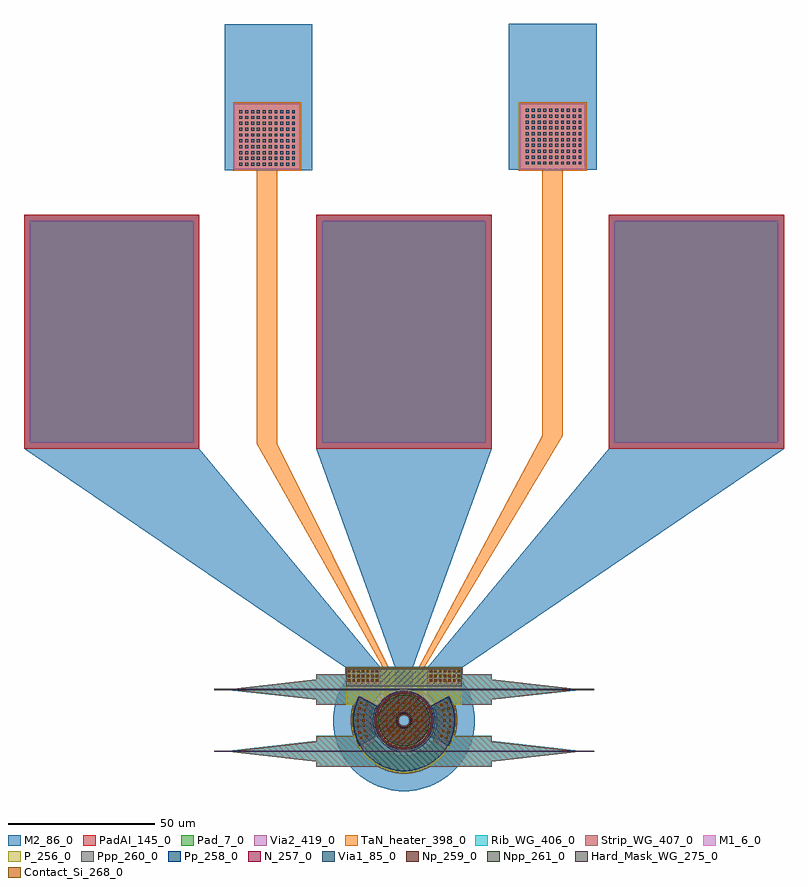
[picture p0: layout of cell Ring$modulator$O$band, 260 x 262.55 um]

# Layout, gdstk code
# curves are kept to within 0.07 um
import gdstk
lib = gdstk.Library(unit=1e-6, precision=1e-09)
def R(c, l, rs):  # rectangles x0, y0, x1, y1
    for r in rs: c.add(gdstk.rectangle(r[:2], r[2:], *l))
def A(c, l, x, y, w, h, nx, ny, dx, dy):  # array of equal rectangles
    R(c, l, [(x+i*dx, y+j*dy, x+i*dx+w, y+j*dy+h) for i in range(nx) for j in range(ny)])
def P(c, l, *ps):  # polygons
    for p in ps: c.add(gdstk.Polygon(p, *l))
M1_6_0 = (6, 0)
Pad_7_0 = (7, 0)
Via1_85_0 = (85, 0)
M2_86_0 = (86, 0)
PadAI_145_0 = (145, 0)
P_256_0 = (256, 0)
N_257_0 = (257, 0)
Pp_258_0 = (258, 0)
Np_259_0 = (259, 0)
Ppp_260_0 = (260, 0)
Npp_261_0 = (261, 0)
Contact_Si_268_0 = (268, 0)
Hard_Mask_WG_275_0 = (275, 0)
TaN_heater_398_0 = (398, 0)
Rib_WG_406_0 = (406, 0)
Strip_WG_407_0 = (407, 0)
Via2_419_0 = (419, 0)

ring_modulator_o_band = lib.new_cell('Ring$modulator$O$band')
R(ring_modulator_o_band, M1_6_0, [(110.3,43.55,121.7,48.455), (110.3,43.55,121.7,48.455), (138.3,43.55,149.7,48.455), (138.3,43.55,149.7,48.455), (72.005,219.411,94.321,241.726), (169.706,219.411,192.022,241.726)])
P(ring_modulator_o_band, M1_6_0, [(115.612,20.701),(114.513,22.487),(113.452,24.883),(112.76,27.41),(112.452,30.011),(112.485,32.106),(112.878,34.696),(113.651,37.198),(114.789,39.557),(119.396,36.897),(118.636,35.336),(118.105,33.683),(117.813,31.973),(117.766,30.238),(117.965,28.515),(118.405,26.837),(119.078,25.239),(119.97,23.752)],
  [(144.388,20.7),(140.03,23.751),(140.924,25.239),(141.596,26.839),(142.036,28.517),(142.235,30.24),(142.187,31.975),(141.895,33.685),(141.365,35.337),(140.605,36.897),(145.212,39.557),(146.152,37.68),(146.999,35.202),(147.468,32.625),(147.549,30.008),(147.333,27.923),(146.716,25.377),(145.727,22.951)],
  [(130.088,23.019),(128.691,23.13),(127.337,23.49),(125.773,24.272),(124.672,25.138),(123.745,26.188),(123.023,27.388),(122.527,28.698),(122.252,30.425),(122.245,30.775),(127.265,30.775),(127.454,29.773),(127.995,28.913),(128.814,28.309),(129.594,28.069),(130.205,28.047),(131,28.228),(132.006,28.914),(132.465,29.588),(132.668,30.167),(132.728,30.982),(132.614,31.584),(132.369,32.145),(131.86,32.781),(131.186,33.241),(130.607,33.443),(129.391,33.442),(128.294,32.914),(127.535,31.962),(127.265,30.775),(122.245,30.775),(122.371,32.172),(122.746,33.521),(123.546,35.077),(124.425,36.167),(125.485,37.081),(126.692,37.79),(128.007,38.271),(129.738,38.527),(131.482,38.388),(132.826,37.998),(134.373,37.181),(135.453,36.29),(136.356,35.22),(137.19,33.683),(137.596,32.342),(137.754,30.951),(137.596,29.209),(137.191,27.868),(136.551,26.622),(135.697,25.512),(134.657,24.573),(133.149,23.687),(131.823,23.236)])
A(ring_modulator_o_band, Pad_7_0, 2, 125.755, 56, 76, 3, 1, 100, 0)
A(ring_modulator_o_band, Via1_85_0, 110.8, 44, 0.8, 0.8, 7, 3, 1.6, 1.6)
A(ring_modulator_o_band, Via1_85_0, 138.8, 44, 0.8, 0.8, 7, 3, 1.6, 1.6)
A(ring_modulator_o_band, Via1_85_0, 73.71, 220.558, 1, 1, 10, 10, 2, 2)
A(ring_modulator_o_band, Via1_85_0, 171.722, 220.989, 1, 1, 10, 10, 2, 2)
R(ring_modulator_o_band, Via1_85_0, [(129.6,24.18,130.4,24.98), (114.998,24.327,115.798,25.127), (144.202,24.327,145.002,25.127), (127.686,24.483,128.486,25.283), (131.514,24.483,132.314,25.283), (116.753,25.054,117.553,25.854), (142.447,25.054,143.247,25.854), (125.959,25.363,126.759,26.163), (133.241,25.363,134.041,26.163), (129.6,25.98,130.4,26.78), (114.334,26.284,115.134,27.084), (144.866,26.284,145.666,27.084), (127.402,26.569,128.202,27.369), (131.798,26.569,132.598,27.369), (124.588,26.734,125.388,27.534), (134.612,26.734,135.412,27.534), (116.169,26.776,116.969,27.576), (143.031,26.776,143.831,27.576), (125.794,28.178,126.594,28.978), (133.406,28.178,134.206,28.978), (113.93,28.312,114.73,29.112), (145.27,28.312,146.07,29.112), (123.708,28.461,124.508,29.261), (135.492,28.461,136.292,29.261), (115.814,28.56,116.614,29.36), (143.386,28.56,144.186,29.36), (113.795,30.375,114.595,31.175), (113.795,30.375,114.595,31.175), (115.695,30.375,116.495,31.175), (115.695,30.375,116.495,31.175), (123.405,30.375,124.205,31.175), (123.405,30.375,124.205,31.175), (125.205,30.375,126.005,31.175), (125.205,30.375,126.005,31.175), (133.995,30.375,134.795,31.175), (133.995,30.375,134.795,31.175), (135.795,30.375,136.595,31.175), (135.795,30.375,136.595,31.175), (143.505,30.375,144.305,31.175), (143.505,30.375,144.305,31.175), (145.405,30.375,146.205,31.175), (145.405,30.375,146.205,31.175), (115.814,32.19,116.614,32.99), (143.386,32.19,144.186,32.99), (123.708,32.289,124.508,33.089), (135.492,32.289,136.292,33.089), (113.93,32.438,114.73,33.238), (145.27,32.438,146.07,33.238), (125.794,32.572,126.594,33.372), (133.406,32.572,134.206,33.372), (116.169,33.974,116.969,34.774), (143.031,33.974,143.831,34.774), (124.588,34.016,125.388,34.816), (134.612,34.016,135.412,34.816), (127.402,34.181,128.202,34.981), (131.798,34.181,132.598,34.981), (114.334,34.466,115.134,35.266), (144.866,34.466,145.666,35.266), (129.6,34.77,130.4,35.57), (125.959,35.387,126.759,36.187), (133.241,35.387,134.041,36.187), (116.753,35.696,117.553,36.496), (142.447,35.696,143.247,36.496), (127.686,36.267,128.486,37.067), (131.514,36.267,132.314,37.067), (114.998,36.423,115.798,37.223), (144.202,36.423,145.002,37.223), (129.6,36.57,130.4,37.37)])
R(ring_modulator_o_band, M2_86_0, [(169.206,218.911,192.522,242.226), (68.639,218.927,98.639,268.927), (165.862,219.118,195.862,269.118)])
P(ring_modulator_o_band, M2_86_0, [(138,62.644),(138,203.755),(160,203.755),(160,123.755)],
  [(138,7.93),(138,21.905),(139.643,23.724),(140.35,24.809),(140.934,25.964),(141.621,28.007),(141.852,29.281),(141.944,30.572),(141.896,31.865),(141.708,33.146),(141.383,34.4),(140.923,35.611),(139.627,37.848),(138,39.645),(138,48.755),(200,123.755),(200,203.755),(260,203.755),(260,123.755),(150,48.755),(150,44.407),(151.451,41.99),(152.71,39.153),(153.595,36.18),(154.024,33.735),(154.201,31.258),(154.123,28.777),(153.792,26.317),(153.21,23.903),(152.384,21.562),(151.021,18.774),(149.681,16.683),(147.717,14.281),(145.934,12.553),(143.473,10.665),(140.79,9.107)],
  [(138,29.853),(138,31.711),(138.023,31.492),(138.047,31.133),(138.055,30.775),(138.047,30.417),(138.023,30.058)],
  [(130,6.57),(127.519,6.696),(125.675,6.959),(123.856,7.362),(122,7.931),(122,21.906),(123.838,20.541),(125.778,19.6),(127.854,19.023),(130,18.83),(132.147,19.024),(134.223,19.6),(136.162,20.541),(138,21.905),(138,7.93),(136.148,7.363),(134.329,6.959),(131.867,6.641)],
  [(122,7.931),(119.213,9.105),(116.53,10.663),(114.541,12.148),(112.285,14.279),(110.32,16.681),(108.98,18.771),(107.617,21.559),(106.791,23.9),(106.209,26.314),(105.877,28.774),(105.799,31.255),(105.975,33.732),(106.551,36.781),(107.29,39.152),(108.548,41.989),(110,44.407),(110,48.755),(0,123.755),(0,203.755),(60,203.755),(60,123.755),(122,48.755),(122,39.645),(120.371,37.846),(119.076,35.61),(118.291,33.146),(118.055,30.572),(118.286,28.429),(119.065,25.964),(119.65,24.809),(120.357,23.724),(122,21.906)],
  [(130,22.72),(128.571,22.848),(127.022,23.291),(125.896,23.844),(124.664,24.741),(123.623,25.854),(122.894,26.982),(122.307,28.388),(122,29.839),(122,31.698),(122.125,32.468),(122.516,33.753),(123.069,34.879),(123.791,35.906),(124.664,36.809),(125.665,37.564),(127,38.25),(127,48.755),(122,62.644),(122,203.755),(138,203.755),(138,62.644),(133,48.755),(133,38.25),(134.104,37.706),(135.336,36.809),(136.209,35.906),(136.931,34.879),(137.484,33.753),(137.856,32.554),(138,31.711),(138,29.853),(137.693,28.388),(137.106,26.982),(136.377,25.854),(135.336,24.741),(134.335,23.986),(132.978,23.291),(131.516,22.864)],
  [(122,62.644),(100,123.755),(100,203.755),(122,203.755)],
  [(122,29.839),(121.995,29.879),(121.977,30.058),(121.953,30.417),(121.945,30.775),(121.953,31.133),(121.977,31.492),(122,31.698)],
  [(71.505,218.911),(71.505,242.226),(83.328,242.226),(83.328,221.309),(94.821,221.309),(94.821,218.911)])
A(ring_modulator_o_band, PadAI_145_0, 0, 123.755, 60, 80, 3, 1, 100, 0)
R(ring_modulator_o_band, P_256_0, [(110.3,36.14,117.3,41.345), (142.7,36.14,149.7,41.345), (110.3,41.345,149.7,48.75)])
P(ring_modulator_o_band, P_256_0, [(130,12.87),(128.41,12.94),(126.832,13.151),(124.769,13.65),(123.269,14.182),(121.822,14.845),(119.995,15.925),(118.716,16.872),(117.526,17.929),(116.094,19.494),(115.148,20.773),(114.319,22.131),(113.613,23.557),(113.037,25.04),(112.478,27.087),(112.165,29.186),(112.094,30.776),(112.165,32.366),(112.478,34.465),(112.875,36.007),(113.407,37.507),(114.07,38.953),(115.15,40.78),(116.437,42.466),(117.529,43.624),(118.719,44.681),(120.442,45.917),(121.824,46.706),(123.271,47.368),(125.28,48.048),(126.833,48.399),(128.411,48.61),(130,48.68),(130,40.775),(128.024,40.579),(126.127,39.996),(124.382,39.049),(122.859,37.777),(121.616,36.228),(120.858,34.831),(120.237,32.945),(120.001,30.974),(120.159,28.995),(120.704,27.086),(121.616,25.322),(122.859,23.773),(124.383,22.501),(126.128,21.554),(128.025,20.971),(130,20.775)],
  [(130,12.87),(130,20.775),(131.976,20.971),(133.873,21.554),(135.618,22.501),(137.141,23.773),(138.384,25.322),(139.142,26.719),(139.763,28.605),(139.999,30.576),(139.841,32.555),(139.296,34.464),(138.384,36.228),(137.141,37.777),(135.617,39.049),(133.872,39.996),(131.975,40.579),(130,40.775),(130,48.68),(131.59,48.61),(133.168,48.399),(135.231,47.9),(136.731,47.368),(138.178,46.705),(140.005,45.625),(141.284,44.678),(142.474,43.621),(143.906,42.056),(144.852,40.777),(145.681,39.419),(146.387,37.993),(146.963,36.51),(147.522,34.463),(147.835,32.364),(147.906,30.774),(147.835,29.184),(147.522,27.085),(147.125,25.543),(146.593,24.043),(145.93,22.597),(144.85,20.77),(143.563,19.084),(142.471,17.926),(141.281,16.869),(139.558,15.633),(138.176,14.844),(136.729,14.182),(134.72,13.502),(133.167,13.151),(131.589,12.94)])
P(ring_modulator_o_band, N_257_0, [(130,20.775),(128.025,20.971),(126.128,21.554),(124.383,22.501),(122.859,23.773),(121.616,25.322),(120.858,26.719),(120.237,28.605),(120.001,30.576),(120.159,32.555),(120.704,34.464),(121.616,36.228),(122.859,37.777),(124.382,39.049),(126.127,39.996),(128.024,40.579),(130,40.775),(130,32.87),(129.283,32.745),(128.518,32.257),(128.101,31.661),(127.904,30.776),(128.03,30.058),(128.518,29.293),(129.283,28.806),(130,28.68)],
  [(130,20.775),(130,28.68),(130.717,28.805),(131.482,29.293),(131.899,29.889),(132.096,30.774),(131.97,31.492),(131.482,32.257),(130.717,32.744),(130,32.87),(130,40.775),(131.975,40.579),(133.872,39.996),(135.617,39.049),(137.141,37.777),(138.384,36.228),(139.142,34.831),(139.763,32.945),(139.999,30.974),(139.841,28.995),(139.296,27.086),(138.384,25.322),(137.141,23.773),(135.618,22.501),(133.873,21.554),(131.976,20.971)])
P(ring_modulator_o_band, Pp_258_0, [(130,13.45),(130,20.25),(132.007,20.442),(134.312,21.174),(136.389,22.415),(137.307,23.206),(138.128,24.098),(139.052,25.422),(139.762,26.873),(140.242,28.414),(140.48,30.011),(140.47,31.626),(140.213,33.221),(139.861,34.381),(139.188,35.848),(145.135,39.145),(146.035,37.266),(146.701,35.292),(147.125,33.254),(147.306,30.658),(147.096,28.064),(146.649,26.031),(145.753,23.589),(144.778,21.749),(143.261,19.635),(141.829,18.122),(140.226,16.793),(138.474,15.666),(136.601,14.757),(134.127,13.948),(132.078,13.574)],
  [(130,13.45),(127.92,13.575),(125.871,13.949),(123.882,14.566),(121.525,15.666),(119.774,16.794),(118.171,18.123),(116.411,20.039),(115.222,21.749),(114.039,24.066),(113.351,26.031),(112.831,28.58),(112.694,30.658),(112.875,33.254),(113.3,35.293),(113.966,37.266),(114.865,39.145),(120.812,35.848),(120.139,34.381),(119.7,32.827),(119.504,31.224),(119.52,30.012),(119.758,28.415),(120.237,26.873),(120.947,25.423),(121.872,24.098),(123.61,22.415),(125.687,21.175),(127.993,20.442),(130,20.25)])
P(ring_modulator_o_band, Np_259_0, [(130,21.26),(128.077,21.456),(126.232,22.038),(124.545,22.982),(123.355,23.971),(122.119,25.458),(121.209,27.164),(120.742,28.641),(120.506,30.559),(120.663,32.486),(121.207,34.341),(122.116,36.048),(123.352,37.536),(124.864,38.742),(126.588,39.617),(128.074,40.054),(130,40.25),(130,33.45),(128.992,33.256),(128.131,32.698),(127.54,31.858),(127.306,30.858),(127.353,30.241),(127.54,29.651),(128.131,28.812),(128.992,28.255),(130,28.06)],
  [(130,21.26),(130,28.06),(131.008,28.254),(131.869,28.812),(132.46,29.652),(132.694,30.652),(132.647,31.269),(132.46,31.859),(131.869,32.698),(131.008,33.255),(130,33.45),(130,40.25),(131.923,40.054),(133.768,39.472),(135.455,38.528),(136.645,37.539),(137.881,36.052),(138.791,34.346),(139.258,32.869),(139.494,30.951),(139.337,29.024),(138.793,27.169),(137.884,25.462),(136.648,23.974),(135.136,22.768),(133.412,21.893),(131.926,21.456)])
R(ring_modulator_o_band, Ppp_260_0, [(110.3,42.55,149.7,48.45)])
P(ring_modulator_o_band, Ppp_260_0, [(114.754,21.973),(113.816,23.846),(113.107,25.819),(112.637,27.861),(112.397,30.468),(112.546,33.082),(112.944,35.139),(113.583,37.134),(114.456,39.04),(120.107,36.035),(119.578,34.892),(119.08,33.289),(118.827,31.63),(118.801,30.371),(118.917,29.117),(119.289,27.48),(119.727,26.299),(120.296,25.173)],
  [(145.246,21.972),(139.704,25.172),(140.272,26.296),(140.71,27.477),(141.012,28.7),(141.199,30.369),(141.173,31.628),(140.92,33.287),(140.422,34.891),(139.893,36.035),(145.544,39.04),(146.417,37.135),(147.179,34.629),(147.515,32.56),(147.603,30.467),(147.363,27.86),(146.893,25.817),(146.184,23.844)])
P(ring_modulator_o_band, Npp_261_0, [(130,21.98),(128.513,22.106),(126.72,22.613),(125.388,23.285),(123.913,24.425),(122.712,25.85),(121.984,27.153),(121.401,28.923),(121.204,30.776),(121.331,32.262),(121.838,34.055),(122.713,35.701),(123.914,37.126),(125.389,38.266),(126.721,38.937),(128.514,39.445),(130,39.57),(130,33.17),(129.061,32.98),(128.273,32.436),(127.76,31.625),(127.606,30.872),(127.76,29.926),(128.272,29.116),(129.06,28.571),(130,28.38)],
  [(130,21.98),(130,28.38),(130.939,28.57),(131.727,29.114),(132.24,29.925),(132.394,30.678),(132.24,31.624),(131.728,32.434),(130.94,32.979),(130,33.17),(130,39.57),(131.487,39.444),(133.28,38.937),(134.612,38.265),(136.087,37.125),(137.288,35.7),(138.016,34.397),(138.599,32.627),(138.796,30.774),(138.669,29.288),(138.162,27.495),(137.287,25.849),(136.086,24.424),(134.611,23.284),(133.279,22.613),(131.486,22.105)])
A(ring_modulator_o_band, Contact_Si_268_0, 110.8, 44, 0.8, 0.8, 7, 3, 1.6, 1.6)
A(ring_modulator_o_band, Contact_Si_268_0, 138.8, 44, 0.8, 0.8, 7, 3, 1.6, 1.6)
R(ring_modulator_o_band, Contact_Si_268_0, [(129.6,24.18,130.4,24.98), (114.998,24.327,115.798,25.127), (144.202,24.327,145.002,25.127), (127.686,24.483,128.486,25.283), (131.514,24.483,132.314,25.283), (116.753,25.054,117.553,25.854), (142.447,25.054,143.247,25.854), (125.959,25.363,126.759,26.163), (133.241,25.363,134.041,26.163), (129.6,25.98,130.4,26.78), (114.334,26.284,115.134,27.084), (144.866,26.284,145.666,27.084), (127.402,26.569,128.202,27.369), (131.798,26.569,132.598,27.369), (124.588,26.734,125.388,27.534), (134.612,26.734,135.412,27.534), (116.169,26.776,116.969,27.576), (143.031,26.776,143.831,27.576), (125.794,28.178,126.594,28.978), (133.406,28.178,134.206,28.978), (113.93,28.312,114.73,29.112), (145.27,28.312,146.07,29.112), (123.708,28.461,124.508,29.261), (135.492,28.461,136.292,29.261), (115.814,28.56,116.614,29.36), (143.386,28.56,144.186,29.36), (113.795,30.375,114.595,31.175), (113.795,30.375,114.595,31.175), (115.695,30.375,116.495,31.175), (115.695,30.375,116.495,31.175), (123.405,30.375,124.205,31.175), (123.405,30.375,124.205,31.175), (125.205,30.375,126.005,31.175), (125.205,30.375,126.005,31.175), (133.995,30.375,134.795,31.175), (133.995,30.375,134.795,31.175), (135.795,30.375,136.595,31.175), (135.795,30.375,136.595,31.175), (143.505,30.375,144.305,31.175), (143.505,30.375,144.305,31.175), (145.405,30.375,146.205,31.175), (145.405,30.375,146.205,31.175), (115.814,32.19,116.614,32.99), (143.386,32.19,144.186,32.99), (123.708,32.289,124.508,33.089), (135.492,32.289,136.292,33.089), (113.93,32.438,114.73,33.238), (145.27,32.438,146.07,33.238), (125.794,32.572,126.594,33.372), (133.406,32.572,134.206,33.372), (116.169,33.974,116.969,34.774), (143.031,33.974,143.831,34.774), (124.588,34.016,125.388,34.816), (134.612,34.016,135.412,34.816), (127.402,34.181,128.202,34.981), (131.798,34.181,132.598,34.981), (114.334,34.466,115.134,35.266), (144.866,34.466,145.666,35.266), (129.6,34.77,130.4,35.57), (125.959,35.387,126.759,36.187), (133.241,35.387,134.041,36.187), (116.753,35.696,117.553,36.496), (142.447,35.696,143.247,36.496), (127.686,36.267,128.486,37.067), (131.514,36.267,132.314,37.067), (114.998,36.423,115.798,37.223), (144.202,36.423,145.002,37.223), (129.6,36.57,130.4,37.37)])
R(ring_modulator_o_band, Hard_Mask_WG_275_0, [(65,20,70,20.41), (70,20,100,20.41), (100,20,160,20.41), (160,20,195,20.41), (65,41.14,70,41.55), (70,41.14,100,41.55), (100,41.14,160,41.55), (160,41.14,190,41.55), (190,41.14,195,41.55)])
P(ring_modulator_o_band, Hard_Mask_WG_275_0, [(130,20.57),(128.808,20.639),(128.017,20.764),(126.853,21.066),(126.101,21.343),(125.373,21.678),(124.336,22.285),(123.377,23.01),(122.788,23.554),(122.243,24.142),(121.517,25.1),(120.909,26.136),(120.574,26.863),(120.179,27.998),(119.991,28.777),(119.865,29.569),(119.794,30.769),(119.864,31.969),(119.989,32.761),(120.292,33.924),(120.569,34.676),(121.093,35.758),(121.512,36.442),(121.983,37.091),(122.782,37.99),(123.37,38.535),(124.328,39.26),(125.012,39.679),(126.094,40.204),(127.229,40.598),(128.008,40.785),(129.199,40.95),(130,40.98),(130,40.57),(129.216,40.54),(128.044,40.374),(126.901,40.068),(125.803,39.626),(124.438,38.839),(123.807,38.365),(122.937,37.563),(122.17,36.662),(121.722,36.013),(121.327,35.33),(120.841,34.251),(120.402,32.736),(120.236,31.564),(120.204,30.776),(120.275,29.595),(120.402,28.816),(120.708,27.673),(120.988,26.935),(121.326,26.222),(121.938,25.21),(122.935,23.989),(123.804,23.187),(124.435,22.713),(125.8,21.925),(126.897,21.483),(128.04,21.177),(128.819,21.05),(130,20.98)],
  [(130,20.57),(130,20.98),(130.784,21.01),(131.956,21.176),(133.099,21.482),(134.197,21.924),(135.562,22.711),(136.193,23.185),(137.063,23.987),(137.83,24.888),(138.278,25.537),(138.673,26.22),(139.159,27.299),(139.598,28.814),(139.764,29.986),(139.796,30.774),(139.725,31.955),(139.598,32.734),(139.292,33.877),(139.012,34.615),(138.674,35.328),(138.062,36.34),(137.065,37.561),(136.196,38.363),(135.565,38.837),(134.2,39.625),(133.103,40.067),(131.96,40.373),(131.181,40.5),(130,40.57),(130,40.98),(131.192,40.911),(131.983,40.786),(133.147,40.484),(133.899,40.207),(134.627,39.872),(135.664,39.265),(136.623,38.54),(137.212,37.996),(137.757,37.408),(138.483,36.45),(139.091,35.414),(139.426,34.687),(139.821,33.552),(140.009,32.773),(140.135,31.981),(140.206,30.781),(140.136,29.581),(140.011,28.789),(139.708,27.626),(139.431,26.874),(138.907,25.792),(138.488,25.108),(138.017,24.459),(137.218,23.56),(136.63,23.015),(135.672,22.29),(134.988,21.871),(133.906,21.346),(132.771,20.952),(131.992,20.765),(130.801,20.6)])
R(ring_modulator_o_band, TaN_heater_398_0, [(123.209,38.126,125.209,48.126), (134.627,38.293,136.627,48.293), (79.663,125.521,86.663,225.521), (177.364,128.198,184.364,228.198), (71.505,218.911,94.821,242.226), (71.505,218.911,94.821,242.226), (169.206,218.911,192.522,242.226), (169.206,218.911,192.522,242.226)])
P(ring_modulator_o_band, TaN_heater_398_0, [(130,20.276),(128.376,20.401),(126.786,20.779),(124.912,21.59),(123.548,22.491),(122.341,23.592),(121.32,24.868),(120.508,26.286),(119.927,27.813),(119.589,29.41),(119.504,31.042),(119.672,32.666),(120.09,34.246),(120.749,35.741),(121.631,37.116),(122.716,38.337),(123.978,39.375),(124.552,38.556),(123.358,37.567),(122.342,36.397),(121.361,34.728),(120.834,33.271),(120.597,32.132),(120.502,30.586),(120.596,29.428),(120.94,27.917),(121.357,26.832),(122.112,25.48),(122.818,24.557),(123.924,23.472),(125.191,22.582),(126.952,21.777),(128.455,21.401),(130,21.276)],
  [(130,20.275),(130,21.275),(131.545,21.4),(133.048,21.776),(134.81,22.581),(136.078,23.472),(136.924,24.269),(137.889,25.481),(138.645,26.833),(139.061,27.918),(139.405,29.429),(139.499,30.588),(139.451,31.749),(139.167,33.273),(138.639,34.73),(137.658,36.398),(136.642,37.568),(135.449,38.557),(136.023,39.376),(137.286,38.337),(138.371,37.115),(139.253,35.74),(139.911,34.245),(140.329,32.666),(140.498,31.042),(140.412,29.41),(140.075,27.813),(139.493,26.286),(138.682,24.867),(137.375,23.299),(136.126,22.246),(134.729,21.399),(133.219,20.779),(131.629,20.401)],
  [(123.209,48.126),(79.663,125.521),(86.663,125.521),(125.209,48.126)],
  [(134.627,48.293),(177.364,128.198),(184.364,128.198),(136.627,48.293)])
P(ring_modulator_o_band, Rib_WG_406_0, [(129.947,12.509),(127.316,12.709),(125.207,13.15),(123.165,13.838),(120.901,14.94),(99.94,14.94),(99.94,16.651),(69.94,20.026),(69.94,20.384),(99.94,23.759),(99.94,25.47),(112.523,25.47),(111.954,27.955),(111.736,30.639),(111.914,33.325),(112.524,36.08),(99.94,36.08),(99.94,37.791),(69.94,41.166),(69.94,41.524),(99.94,44.899),(99.94,46.61),(109.94,46.61),(109.94,49.11),(150.06,49.11),(150.06,46.61),(160.06,46.61),(160.06,44.899),(190.06,41.524),(190.06,41.166),(160.06,37.791),(160.06,36.08),(147.477,36.08),(147.905,34.388),(148.182,32.51),(129.841,32.503),(129.227,32.33),(128.72,31.947),(128.38,31.399),(128.264,30.775),(128.446,30.001),(128.829,29.494),(129.377,29.155),(130.159,29.047),(130.773,29.22),(131.28,29.603),(131.62,30.151),(131.736,30.777),(131.619,31.401),(131.281,31.947),(130.771,32.331),(130.002,32.51),(148.182,32.51),(148.265,30.639),(148.182,29.025),(147.956,27.425),(147.478,25.47),(160.06,25.47),(160.06,23.759),(190.06,20.384),(190.06,20.026),(160.06,16.651),(160.06,14.94),(139.102,14.94),(136.834,13.836),(134.793,13.149),(132.151,12.636)])
P(ring_modulator_o_band, Strip_WG_407_0, [(130.05,12.571),(127.376,12.76),(125.232,13.206),(123.191,13.893),(120.918,15),(100,15),(100,16.705),(70,20.08),(70,20.33),(100,23.705),(100,25.41),(112.605,25.41),(112.005,28.013),(111.796,30.64),(111.966,33.269),(112.607,36.14),(100,36.14),(100,37.845),(70,41.22),(70,41.47),(100,44.845),(100,46.55),(110,46.55),(110,49.05),(150,49.05),(150,46.55),(160,46.55),(160,44.845),(190,41.47),(190,41.22),(160,37.845),(160,36.14),(147.395,36.14),(147.847,34.372),(148.115,32.57),(129.831,32.563),(129.201,32.384),(128.673,31.985),(128.324,31.421),(128.204,30.776),(128.392,29.975),(128.791,29.447),(129.507,29.048),(130.169,28.987),(130.799,29.166),(131.327,29.565),(131.676,30.129),(131.796,30.778),(131.608,31.575),(131.209,32.103),(130.645,32.451),(130.002,32.57),(148.115,32.57),(148.205,30.64),(148.122,29.032),(147.898,27.439),(147.397,25.41),(160,25.41),(160,23.705),(190,20.33),(190,20.08),(160,16.705),(160,15),(139.086,15),(136.812,13.892),(134.772,13.205),(132.628,12.759)])
A(ring_modulator_o_band, Via2_419_0, 2, 125.755, 56, 76, 3, 1, 100, 0)

lib.write_gds('Ring_modulator_O_band.gds')
